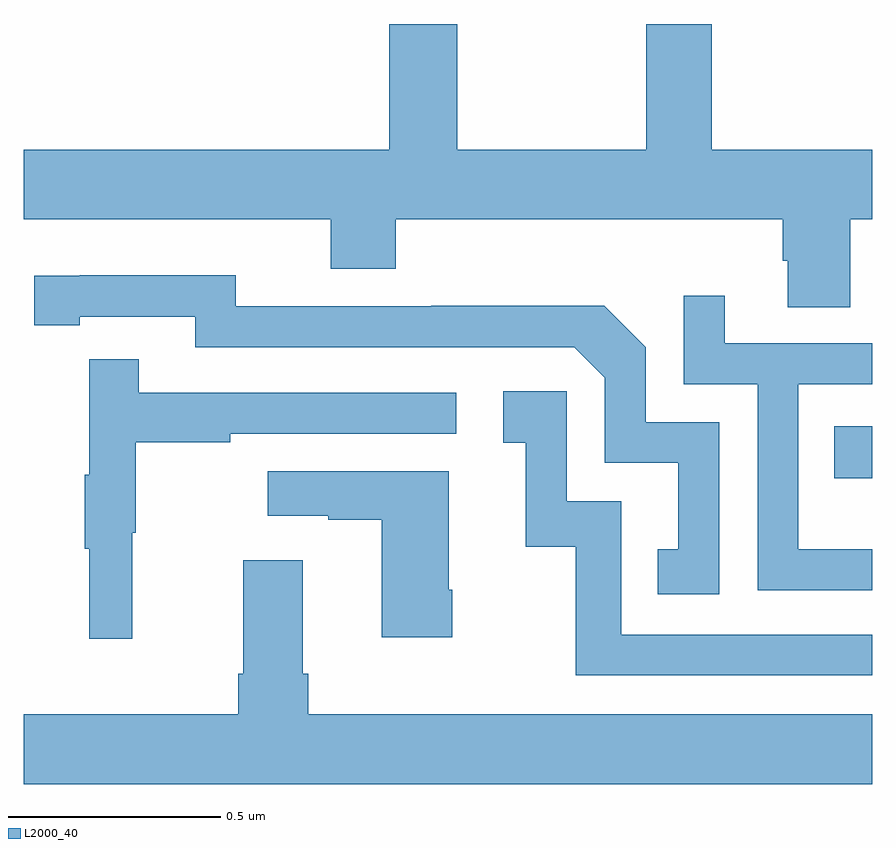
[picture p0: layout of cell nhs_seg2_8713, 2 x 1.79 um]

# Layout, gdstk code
import gdstk
lib = gdstk.Library(unit=1e-6, precision=1e-09)
def R(c, l, rs):  # rectangles x0, y0, x1, y1
    for r in rs: c.add(gdstk.rectangle(r[:2], r[2:], *l))
def P(c, l, *ps):  # polygons
    for p in ps: c.add(gdstk.Polygon(p, *l))
L2000_40 = (2000, 40)

nhs_seg2_8713 = lib.new_cell('nhs_seg2_8713')
R(nhs_seg2_8713, L2000_40, [(221.911,609.729,222,609.852)])
P(nhs_seg2_8713, L2000_40, [(221.949,610.34),(222,610.34),(222,610.504),(221.622,610.504),(221.622,610.8),(221.467,610.8),(221.467,610.504),(221.022,610.504),(221.022,610.8),(220.862,610.8),(220.862,610.504),(220,610.504),(220,610.34),(220.724,610.34),(220.724,610.223),(220.877,610.223),(220.877,610.34),(221.789,610.34),(221.789,610.242),(221.801,610.242),(221.801,610.132),(221.949,610.132)],
  [(221.64,609.861),(221.466,609.861),(221.466,610.038),(221.368,610.136),(220.96,610.136),(220.96,610.134),(220.5,610.134),(220.5,610.207),(220.132,610.207),(220.132,610.206),(220.024,610.206),(220.024,610.09),(220.132,610.09),(220.132,610.11),(220.404,610.11),(220.404,610.038),(221.298,610.038),(221.37,609.966),(221.37,609.765),(221.543,609.765),(221.543,609.561),(221.494,609.561),(221.494,609.456),(221.64,609.456)],
  [(222,609.562),(221.826,609.562),(221.826,609.951),(222,609.951),(222,610.047),(221.653,610.047),(221.653,610.159),(221.556,610.159),(221.556,609.951),(221.73,609.951),(221.73,609.465),(222,609.465)],
  [(220.256,609.6),(220.264,609.6),(220.264,609.814),(220.487,609.814),(220.487,609.834),(221.02,609.834),(221.02,609.93),(220.271,609.93),(220.271,610.009),(220.154,610.009),(220.154,609.737),(220.143,609.737),(220.143,609.563),(220.154,609.563),(220.154,609.351),(220.256,609.351)],
  [(222,609.36),(221.409,609.36),(221.409,609.675),(221.28,609.675),(221.28,609.934),(221.13,609.934),(221.13,609.813),(221.183,609.813),(221.183,609.567),(221.301,609.567),(221.301,609.264),(222,609.264)],
  [(221.01,609.466),(221.002,609.466),(221.002,609.745),(220.575,609.745),(220.575,609.641),(220.718,609.641),(220.718,609.631),(220.844,609.631),(220.844,609.354),(221.01,609.354)],
  [(222,609.172),(220.67,609.172),(220.67,609.268),(220.657,609.268),(220.657,609.535),(220.517,609.535),(220.517,609.268),(220.505,609.268),(220.505,609.172),(220,609.172),(220,609.008),(222,609.008)])

lib.write_gds('nhs_seg2_8713.gds')
